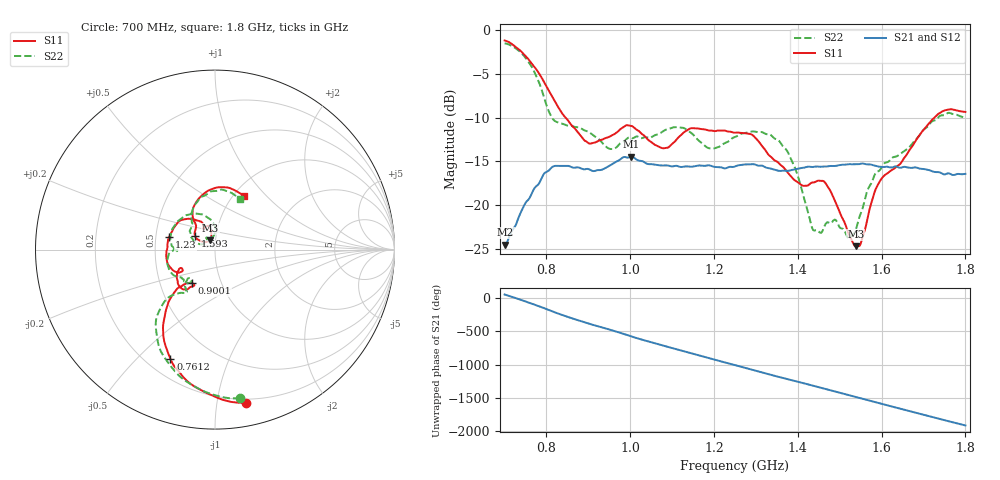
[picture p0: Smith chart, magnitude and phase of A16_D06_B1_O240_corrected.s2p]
! Created with skrf 1.9.0 (http://scikit-rf.org).
# Hz S RI R 50.0
!freq ReS11 ImS11 ReS21 ImS21 ReS12 ImS12 ReS22 ImS22
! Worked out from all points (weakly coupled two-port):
!   1601 points, 700 MHz to 1.8 GHz, reference 50 ohm
!   highest |S21| = -14.47 dB at 1.002 GHz (marker M1); lowest = -24.5 dB at 701.4 MHz (marker M2)
!   lowest |S11| = -24.7 dB at 1.538 GHz (marker M3), VSWR 1.12, Z = 47.2 + j4.94 ohm
!   |S11| at or under -10 dB: 845.7 MHz to 1.726 GHz (880 MHz wide, 68.4 % of centre)
!   |S22| runs from -23.8 to -1.5 dB; largest |S21 - S12| = 0.0034
!   S11 on the Smith chart (normalised r, x): 700 MHz: 0.17, -1.21; 761.2 MHz: 0.29, -0.63; 900.1 MHz: 0.73, -0.29; 1.23 GHz: 0.59, +0.09; 1.593 GHz: 0.79, +0.12; 1.8 GHz: 1.12, +0.76
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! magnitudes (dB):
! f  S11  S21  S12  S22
! 700 MHz  -1.2  -24.5  -24.3  -1.5
! 701.4 MHz  -1.2  -24.5  -24.1  -1.5
! 761.2 MHz  -3.6  -19.0  -18.9  -3.9
! 815.5 MHz  -7.8  -15.6  -15.7  -10.2
! 883.6 MHz  -12.2  -15.8  -15.7  -11.3
! 900.1 MHz  -12.9  -15.9  -15.9  -11.6
! 953.7 MHz  -12.1  -15.4  -15.4  -13.6
! 1.002 GHz  -11.0  -14.5  -14.6  -12.3
! 1.067 GHz  -13.3  -15.4  -15.4  -11.9
! 1.145 GHz  -11.2  -15.6  -15.6  -11.7
! 1.19 GHz  -11.5  -15.5  -15.5  -13.5
! 1.23 GHz  -11.6  -15.8  -15.7  -12.8
! 1.25 GHz  -11.7  -15.6  -15.5  -12.2
! 1.357 GHz  -15.3  -16.1  -16.0  -12.7
! 1.394 GHz  -17.2  -15.9  -15.9  -15.9
! 1.434 GHz  -17.4  -15.6  -15.6  -22.5
! 1.469 GHz  -17.7  -15.6  -15.6  -22.0
! 1.538 GHz  -24.7  -15.3  -15.3  -22.9
! 1.593 GHz  -17.5  -15.6  -15.6  -16.1
! 1.617 GHz  -16.2  -15.7  -15.6  -15.0
! 1.734 GHz  -9.6  -16.2  -16.3  -10.0
! 1.8 GHz  -9.4  -16.4  -16.4  -10.0
